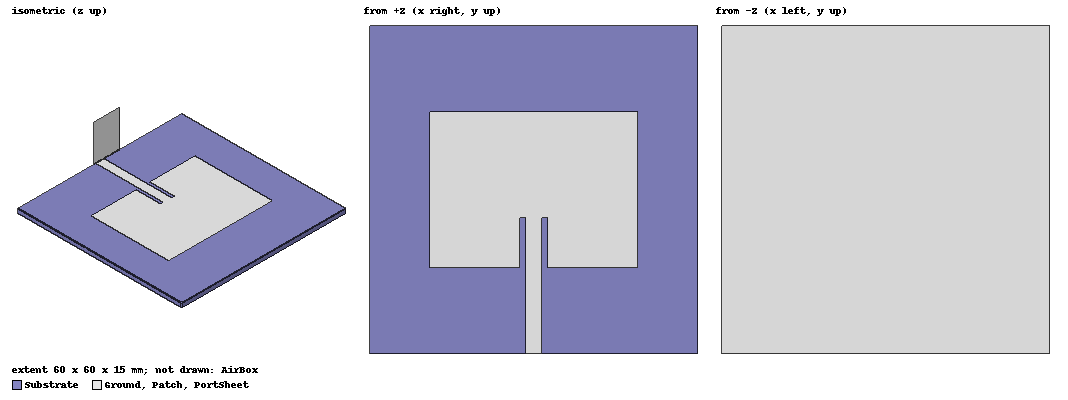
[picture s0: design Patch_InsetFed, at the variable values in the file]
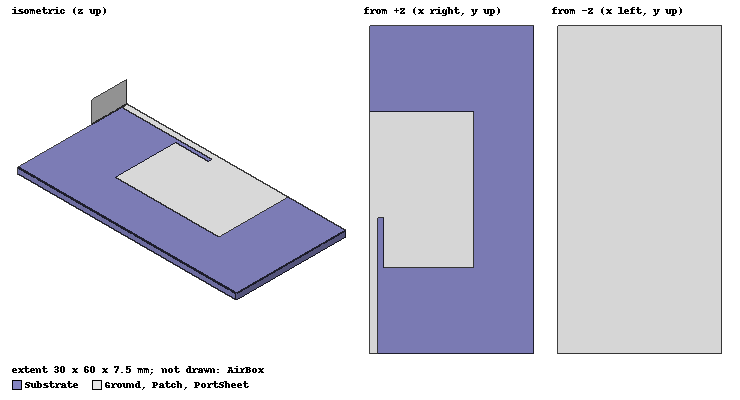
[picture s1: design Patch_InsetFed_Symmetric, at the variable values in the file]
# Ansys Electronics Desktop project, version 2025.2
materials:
  vacuum: permittivity=1
  FR4_epoxy: permittivity=4.4 dielectric_loss_tangent=0.02
  air: permittivity=1.0006 permeability=1.0000004

design Patch_InsetFed (HFSS, HFSS Modal Network, model units mm)
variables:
  f0 = 2.45GHz
  patch_W = 38mm
  patch_L = 28.2mm
  feed_W = 3mm
  inset_d = 9mm
  inset_g = 1mm
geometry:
  Substrate [FR4_epoxy] = box(corner=(-30mm, -30mm, 0mm), size=(60mm, 60mm, 1.6mm))
  Ground = rectangle(corner=(-30mm, -30mm, 0mm), x_size=60mm, y_size=60mm)
  AirBox [air] = box(corner=(-65mm, -30mm, -35mm), size=(130mm, 95mm, 71.6mm))
  PortSheet = rectangle(corner=(-7.5mm, -30mm, 0mm), z_size=15mm, x_size=9.6mm)
  Patch = rectangle(corner=(-19mm, -14.2mm, 1.6mm), x_size=38mm, y_size=28.4mm)
  NotchL = rectangle(corner=(-2.5mm, -14.2mm, 1.6mm), x_size=1mm, y_size=9mm)
  NotchR = rectangle(corner=(1.5mm, -14.2mm, 1.6mm), x_size=1mm, y_size=9mm)
  Patch.subtract(NotchL, NotchR)
  Feed = rectangle(corner=(-1.5mm, -30mm, 1.6mm), x_size=3mm, y_size=16mm)
  Patch.unite(Feed)
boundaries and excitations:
  PEC_Ground: Perfect E Objects=Ground
  Rad_Outer: Radiation Objects=AirBox
  PEC_PatchFeed: Perfect E Objects=Patch
  P1: Wave Port Faces=PortSheet.face WavePortType=Modal NumModes=1 Modes{Mode1{IntLine{(0mm, -30000mm, 32mm) -> (0mm, -30000mm, 1568mm)} CharImp=Zpi RenormImp=50ohm}}
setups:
  Setup1: HfssDriven Frequency=2.45GHz MaxDeltaS=0.015 MaximumPasses=15 MinimumPasses=4 MinimumConvergedPasses=2 PercentRefinement=30 BasisOrder=1 PortAccuracy=2 DrivenSolverType="Direct Solver"
    sweep Sweep1: 2GHz to 3GHz, 401 points; Type=Interpolating SaveRadFields InterpTolerance=0.5 InterpMaxSolns=250 InterpUsePortImped=false PassivityErrorTolerance=0.0001
    sweep Sweep1_KPPCJK: 2GHz to 3GHz, 401 points; Type=Interpolating SaveRadFields InterpTolerance=0.5 InterpMaxSolns=250 InterpUsePortImped=false PassivityErrorTolerance=0.0001
  Setup_FF_2p45: HfssDriven Frequency=2.45GHz MaxDeltaS=0.01 MaximumPasses=12 MinimumPasses=4 MinimumConvergedPasses=2 PercentRefinement=30 BasisOrder=1 PortAccuracy=2 DrivenSolverType="Direct Solver"
  Setup1_2: HfssDriven Frequency=2.45GHz MaxDeltaS=0.015 MaximumPasses=15 MinimumPasses=4 MinimumConvergedPasses=2 PercentRefinement=30 BasisOrder=1 PortAccuracy=2 DrivenSolverType="Direct Solver"
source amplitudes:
  P1:1: 1W 0deg
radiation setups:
  FF_Full: Infinite Sphere Theta=-180deg..180deg step 2deg Phi=0deg..180deg step 2deg

design Patch_InsetFed_Symmetric (HFSS, HFSS Modal Network, model units mm)
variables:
  f0 = 2.45GHz
  patch_W = 38mm
  patch_L = 28.4mm
  feed_W = 3mm
  inset_d = 9mm
  inset_g = 1mm
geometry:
  Substrate [FR4_epoxy] = box(corner=(0mm, -30mm, 0mm), size=(30mm, 60mm, 1.6mm))
  Ground = rectangle(corner=(0mm, -30mm, 0mm), x_size=30mm, y_size=60mm)
  Patch = rectangle(corner=(0mm, -14.2mm, 1.6mm), x_size=19mm, y_size=28.4mm)
  NotchR = rectangle(corner=(1.5mm, -14.2mm, 1.6mm), x_size=1mm, y_size=9mm)
  Patch.subtract(NotchR)
  Feed = rectangle(corner=(0mm, -30mm, 1.6mm), x_size=1.5mm, y_size=16mm)
  Patch.unite(Feed)
  AirBox [air] = box(corner=(0mm, -30mm, -35mm), size=(65mm, 95mm, 71.6mm))
  PortSheet = rectangle(corner=(0mm, -30mm, 0mm), z_size=7.5mm, x_size=9.6mm)
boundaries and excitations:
  PEC_PatchFeed: Perfect E Objects=Patch
  PEC_Ground: Perfect E Objects=Ground
  Sym_PMC_x0: Symmetry Faces=AirBox.face(-x) IsPerfectE=false
  Rad_Outer: Radiation Faces=AirBox.face(+z, -y, +y, -z, +x)
  P1: Wave Port Faces=PortSheet.face WavePortType=Modal NumModes=1 Modes{Mode1{IntLine{(750mm, -30000mm, 32mm) -> (750mm, -30000mm, 1568mm)} CharImp=Zpi RenormImp=50ohm}}
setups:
  Setup_FF_Sym: HfssDriven Frequency=2.45GHz MaxDeltaS=0.01 MaximumPasses=12 MinimumPasses=4 MinimumConvergedPasses=2 PercentRefinement=30 BasisOrder=1 PortAccuracy=2 DrivenSolverType="Direct Solver"
  Setup_FF_Sym_2: HfssDriven Frequency=2.45GHz MaxDeltaS=0.01 MaximumPasses=12 MinimumPasses=4 MinimumConvergedPasses=2 PercentRefinement=30 BasisOrder=1 PortAccuracy=2 DrivenSolverType="Direct Solver"
  Setup_FF_Sym_2_3: HfssDriven Frequency=2.45GHz MaxDeltaS=0.01 MaximumPasses=12 MinimumPasses=4 MinimumConvergedPasses=2 PercentRefinement=30 BasisOrder=1 PortAccuracy=2 DrivenSolverType="Direct Solver"
  Setup_FF_Sym_2_3_4: HfssDriven Frequency=2.45GHz MaxDeltaS=0.01 MaximumPasses=12 MinimumPasses=4 MinimumConvergedPasses=2 PercentRefinement=30 BasisOrder=1 PortAccuracy=2 DrivenSolverType="Direct Solver"
  Setup_FF_Sym_2_3_4_5: HfssDriven Frequency=2.45GHz MaxDeltaS=0.01 MaximumPasses=12 MinimumPasses=4 MinimumConvergedPasses=2 PercentRefinement=30 BasisOrder=1 PortAccuracy=2 DrivenSolverType="Direct Solver"
  Setup_FF_Sym_2_3_4_5_6: HfssDriven Frequency=2.45GHz MaxDeltaS=0.01 MaximumPasses=12 MinimumPasses=4 MinimumConvergedPasses=2 PercentRefinement=30 BasisOrder=1 PortAccuracy=2 DrivenSolverType="Direct Solver"
  Setup_FF_Sym_2_3_4_5_6_7: HfssDriven Frequency=2.45GHz MaxDeltaS=0.01 MaximumPasses=12 MinimumPasses=4 MinimumConvergedPasses=2 PercentRefinement=30 BasisOrder=1 PortAccuracy=2 DrivenSolverType="Direct Solver"
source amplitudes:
  P1:1: 0.5W 0deg
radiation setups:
  FF_Full: Infinite Sphere Theta=-180deg..180deg step 2deg Phi=0deg..180deg step 2deg
